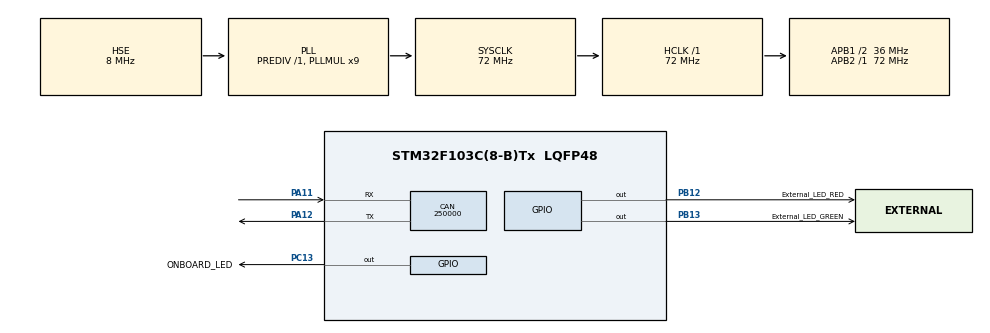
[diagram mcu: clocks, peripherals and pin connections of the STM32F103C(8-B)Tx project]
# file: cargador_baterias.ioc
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CAN.BS1=CAN_BS1_4TQ
CAN.BS2=CAN_BS2_4TQ
CAN.CalculateBaudRate=250000
CAN.CalculateTimeBit=4000
CAN.CalculateTimeQuantum=444.44444444444446
Mcu.Family=STM32F1
Mcu.Name=STM32F103C(8-B)Tx
Mcu.Package=LQFP48
NVIC.PriorityGroup=NVIC_PRIORITYGROUP_4
NVIC.TIM2_IRQn=true\:0\:0\:false\:false\:true\:true\:true\:true
NVIC.USB_LP_CAN1_RX0_IRQn=true\:0\:0\:false\:false\:true\:true\:true\:true
PA11.Mode=CAN_Activate
PA11.Signal=CAN_RX
PA12.Mode=CAN_Activate
PA12.Signal=CAN_TX
PB12.GPIO_Label=External_LED_RED
PB12.GPIO_Speed=GPIO_SPEED_FREQ_LOW
PB12.PinState=GPIO_PIN_RESET
PB12.Signal=GPIO_Output
PB13.GPIO_Label=External_LED_GREEN
PB13.Signal=GPIO_Output
PC13-TAMPER-RTC.GPIO_Label=ONBOARD_LED
PC13-TAMPER-RTC.PinState=GPIO_PIN_SET
PC13-TAMPER-RTC.Signal=GPIO_Output
PD0-OSC_IN.Mode=HSE-External-Oscillator
PD0-OSC_IN.Signal=RCC_OSC_IN
PD1-OSC_OUT.Mode=HSE-External-Oscillator
PD1-OSC_OUT.Signal=RCC_OSC_OUT
ProjectManager.HeapSize=0x200
ProjectManager.StackSize=0x400
ProjectManager.TargetToolchain=STM32CubeIDE
RCC.AHBFreq_Value=72000000
RCC.APB1CLKDivider=RCC_HCLK_DIV2
RCC.APB1Freq_Value=36000000
RCC.APB1TimFreq_Value=72000000
RCC.APB2Freq_Value=72000000
RCC.APB2TimFreq_Value=72000000
RCC.HCLKFreq_Value=72000000
RCC.PLLMUL=RCC_PLL_MUL9
RCC.PLLSourceVirtual=RCC_PLLSOURCE_HSE
RCC.SYSCLKFreq_VALUE=72000000
RCC.SYSCLKSource=RCC_SYSCLKSOURCE_PLLCLK
RCC.USBFreq_Value=72000000
TIM2.Period=9
TIM2.Prescaler=7199
VP_TIM2_VS_ClockSourceINT.Mode=Internal
board=custom

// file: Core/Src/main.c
/* USER CODE BEGIN Header */
/**
  ******************************************************************************
  * @file           : main.c
  * @brief          : Main program body
  ******************************************************************************
  * @attention
  *
  * Copyright (c) 2023 STMicroelectronics.
  * All rights reserved.
  *
  * This software is licensed under terms that can be found in the LICENSE file
  * in the root directory of this software component.
  * If no LICENSE file comes with this software, it is provided AS-IS.
  *
  ******************************************************************************
  */
/* USER CODE END Header */
#include "main.h"
#include "can.h"
#include "tim.h"
#include "gpio.h"

/* USER CODE BEGIN PD */
#define ID_EXT_BATERIA 0x1806E5F4;

/* USER CODE END PD */

void SystemClock_Config(void);
/* USER CODE BEGIN PFP */
void CAN_Filter_Config(void);
void HAL_CAN_RxFifo0MsgPendingCallback(CAN_HandleTypeDef *hcan);
void HAL_TIM_PeriodElapsedCallback(TIM_HandleTypeDef *htim);

/* USER CODE END PFP */

/* USER CODE BEGIN 0 */
uint16_t led_timer = 1000;
uint16_t test = 0;

CAN_RxHeaderTypeDef rxHeader;
CAN_TxHeaderTypeDef txHeader;

uint8_t CanTxBuffer[8]; //Buffer escritura
uint8_t CanRxBuffer[8]; //Buffer lectura
uint32_t CanMailBox; //Para enviar
uint8_t flag_rx = 0, tx_complete = 0, tx_retry = 0; // banderas
uint8_t flag_carga_completa = 0;
uint8_t counterTime = 5; // contador tiempo

//uint8_t led_flag = 0;
/* USER CODE END 0 */

int main(void)
{

  /* MCU Configuration--------------------------------------------------------*/

  /* Reset of all peripherals, Initializes the Flash interface and the Systick. */
  HAL_Init();

  /* Configure the system clock */
  SystemClock_Config();

  /* Initialize all configured peripherals */
  MX_GPIO_Init();
  MX_TIM2_Init();
  MX_CAN_Init();
  /* USER CODE BEGIN 2 */
  HAL_TIM_Base_Start_IT(&htim2);
  CAN_Filter_Config();
  HAL_CAN_Start(&hcan);
  HAL_CAN_ActivateNotification(&hcan, CAN_IT_RX_FIFO0_MSG_PENDING);
  HAL_TIM_Base_Start_IT(&htim2);

  uint16_t voltaje_bateria = 0;
  uint8_t CanTxBuffer[8] = {0x02, 0x48, 0x01, 0x2C, 0x00, 0x00, 0x00, 0x00};
  //CanTxBuffer = data;
  //uint32_t txMailbox;

  txHeader.StdId = 0; // No se utiliza en el modo extendido
  txHeader.ExtId = ID_EXT_BATERIA; // Identificador extendido
  txHeader.RTR = CAN_RTR_DATA;
  txHeader.IDE = CAN_ID_EXT; // Usar identificador extendido
  txHeader.DLC = 8; // Longitud de datos
  /* USER CODE END 2 */

  /* Infinite loop */
  while (1)
  {

    /* USER CODE BEGIN 3 */
	  if(!led_timer && !flag_carga_completa){
		  led_timer = 1000;
		  HAL_GPIO_TogglePin(ONBOARD_LED_GPIO_Port, ONBOARD_LED_Pin);
		  //HAL_GPIO_TogglePin(External_LED_RED_GPIO_Port, External_LED_RED_Pin);// Asume que el LED está conectado al pin GPIOB_PIN_0
		  //HAL_GPIO_TogglePin(External_LED_GREEN_GPIO_Port, External_LED_GREEN_Pin);// Asume que el LED está conectado al pin GPIOB_PIN_0
		  if (HAL_CAN_AddTxMessage(&hcan, &txHeader, CanTxBuffer, &CanMailBox) != HAL_OK) {
			  //HAL_GPIO_TogglePin(External_LED_RED_GPIO_Port, External_LED_RED_Pin);
		          // Error al enviar el mensaje
		      }
	  }
	  if(flag_rx){
		  if (rxHeader.IDE == CAN_ID_EXT && rxHeader.ExtId == 0x18FF50E5) {
			  // Cambiar el estado del LED
			  voltaje_bateria |= CanRxBuffer[0]<<8;
			  voltaje_bateria |= CanRxBuffer[1];
			  if(voltaje_bateria == 534){
				  HAL_GPIO_TogglePin(External_LED_RED_GPIO_Port, External_LED_RED_Pin);// Asume que el LED está conectado al pin GPIOB_PIN_0
				  flag_carga_completa = 1;
			  }

		  }
		  flag_rx=0;
	  }
  }
  /* USER CODE END 3 */
}

void SystemClock_Config(void)
{
  RCC_OscInitTypeDef RCC_OscInitStruct = {0};
  RCC_ClkInitTypeDef RCC_ClkInitStruct = {0};

  /** Initializes the RCC Oscillators according to the specified parameters
  * in the RCC_OscInitTypeDef structure.
  */
  RCC_OscInitStruct.OscillatorType = RCC_OSCILLATORTYPE_HSE;
  RCC_OscInitStruct.HSEState = RCC_HSE_ON;
  RCC_OscInitStruct.HSEPredivValue = RCC_HSE_PREDIV_DIV1;
  RCC_OscInitStruct.HSIState = RCC_HSI_ON;
  RCC_OscInitStruct.PLL.PLLState = RCC_PLL_ON;
  RCC_OscInitStruct.PLL.PLLSource = RCC_PLLSOURCE_HSE;
  RCC_OscInitStruct.PLL.PLLMUL = RCC_PLL_MUL9;
  if (HAL_RCC_OscConfig(&RCC_OscInitStruct) != HAL_OK)
  {
    Error_Handler();
  }

  /** Initializes the CPU, AHB and APB buses clocks
  */
  RCC_ClkInitStruct.ClockType = RCC_CLOCKTYPE_HCLK|RCC_CLOCKTYPE_SYSCLK
                              |RCC_CLOCKTYPE_PCLK1|RCC_CLOCKTYPE_PCLK2;
  RCC_ClkInitStruct.SYSCLKSource = RCC_SYSCLKSOURCE_PLLCLK;
  RCC_ClkInitStruct.AHBCLKDivider = RCC_SYSCLK_DIV1;
  RCC_ClkInitStruct.APB1CLKDivider = RCC_HCLK_DIV2;
  RCC_ClkInitStruct.APB2CLKDivider = RCC_HCLK_DIV1;

  if (HAL_RCC_ClockConfig(&RCC_ClkInitStruct, FLASH_LATENCY_2) != HAL_OK)
  {
    Error_Handler();
  }
}

/* USER CODE BEGIN 4 */

void HAL_CAN_RxFifo0MsgPendingCallback(CAN_HandleTypeDef *hcan)
{
	if(HAL_CAN_GetRxMessage(hcan, CAN_RX_FIFO0, &rxHeader, CanRxBuffer) == HAL_OK){
		flag_rx = 1;
	}
}

void CAN_Filter_Config(void) //Funcion para filtro can
{
	CAN_FilterTypeDef filterConfig;
    filterConfig.FilterIdHigh = 0x0000;
    filterConfig.FilterIdLow = 0x0000;
    filterConfig.FilterMaskIdHigh = 0x0000;
    filterConfig.FilterMaskIdLow = 0x0000;
    filterConfig.FilterFIFOAssignment = CAN_RX_FIFO0;
    filterConfig.FilterBank = 0;
    filterConfig.FilterMode = CAN_FILTERMODE_IDMASK;
    filterConfig.FilterScale = CAN_FILTERSCALE_32BIT;
	filterConfig.FilterActivation = ENABLE;

	if (HAL_CAN_ConfigFilter(&hcan, &filterConfig) != HAL_OK) {
	            // Error en la configuración del filtro
	        }
}

void HAL_TIM_PeriodElapsedCallback(TIM_HandleTypeDef *htim){
	if(led_timer)
		led_timer--;
	if(htim->Instance == TIM2)  // Verifica que la interrupción provino de TIM2
	    {
	    }

}

/* USER CODE END 4 */

void Error_Handler(void)
{
  __disable_irq();
  while (1)
  {
  }
}
